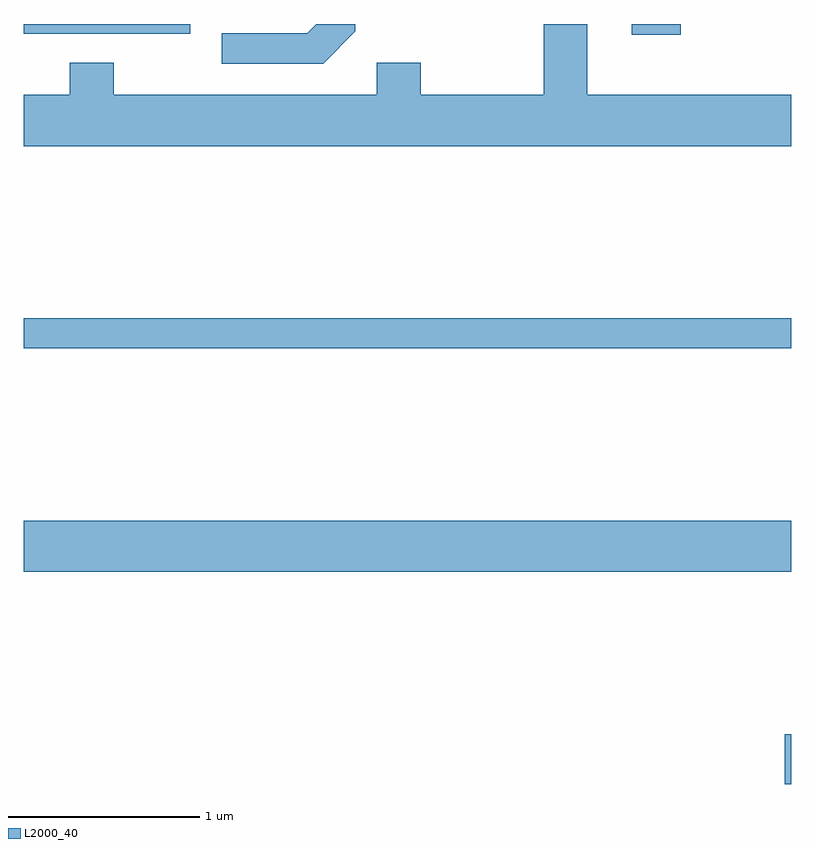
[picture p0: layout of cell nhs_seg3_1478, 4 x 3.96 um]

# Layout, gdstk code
import gdstk
lib = gdstk.Library(unit=1e-6, precision=1e-09)
def R(c, l, rs):  # rectangles x0, y0, x1, y1
    for r in rs: c.add(gdstk.rectangle(r[:2], r[2:], *l))
def P(c, l, *ps):  # polygons
    for p in ps: c.add(gdstk.Polygon(p, *l))
L2000_40 = (2000, 40)

nhs_seg3_1478 = lib.new_cell('nhs_seg3_1478')
R(nhs_seg3_1478, L2000_40, [(231.576,1215.931,231.611,1216.189), (227.611,1217.036,231.611,1217.304), (227.611,1218.201,231.611,1218.359), (230.781,1219.836,231.034,1219.892), (227.611,1219.841,228.479,1219.892)])
P(nhs_seg3_1478, L2000_40, [(231.611,1219.524),(230.549,1219.524),(230.549,1219.892),(230.321,1219.892),(230.321,1219.524),(229.679,1219.524),(229.679,1219.689),(229.451,1219.689),(229.451,1219.524),(228.079,1219.524),(228.079,1219.689),(227.851,1219.689),(227.851,1219.524),(227.611,1219.524),(227.611,1219.256),(231.611,1219.256)],
  [(229.339,1219.854),(229.339,1219.892),(229.136,1219.892),(229.089,1219.844),(228.643,1219.844),(228.643,1219.686),(229.172,1219.686)])

lib.write_gds('nhs_seg3_1478.gds')
